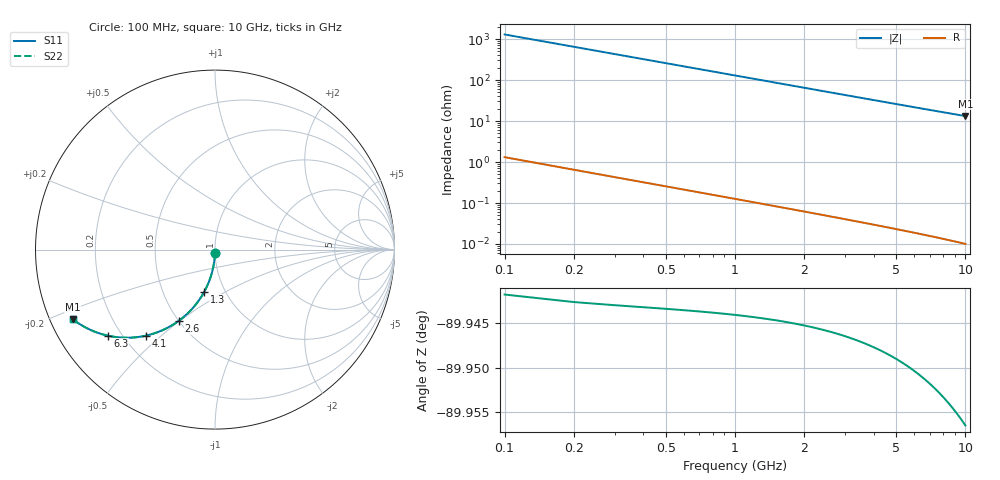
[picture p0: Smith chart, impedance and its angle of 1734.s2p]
# Hz S RI R 50.00
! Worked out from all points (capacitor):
!   100 points, 100 MHz to 10 GHz, reference 50 ohm
!   read as one part in shunt: C = 1.23 pF near 100 MHz
!   lowest |Z| = 13.2 ohm at 10 GHz (marker M1)
!   S11 on the Smith chart (normalised r, x): 100 MHz: 1.00, -0.04; 1.3 GHz: 0.80, -0.40; 2.6 GHz: 0.50, -0.50; 4.1 GHz: 0.29, -0.45; 6.3 GHz: 0.15, -0.34; 10 GHz: 0.07, -0.23
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1e8  -0.000257 -0.0192  0.9995 -0.0195  0.9995 -0.0195  -0.000257 -0.0192
2e8  -0.00139 -0.0383  0.9983 -0.0389  0.9983 -0.0389  -0.00139 -0.0383
3e8  -0.00327 -0.0573  0.9965 -0.0583  0.9965 -0.0583  -0.00327 -0.0573
4e8  -0.00588 -0.0762  0.9938 -0.0775  0.9938 -0.0775  -0.00588 -0.0762
5e8  -0.00921 -0.0949  0.9905 -0.0966  0.9905 -0.0966  -0.00921 -0.0949
6e8  -0.0132 -0.1134  0.9865 -0.1154  0.9865 -0.1154  -0.0132 -0.1134
7e8  -0.018 -0.1317  0.9818 -0.134  0.9818 -0.134  -0.018 -0.1317
8e8  -0.0234 -0.1497  0.9764 -0.1523  0.9764 -0.1523  -0.0234 -0.1497
1e9  -0.036 -0.1846  0.9637 -0.1879  0.9637 -0.1879  -0.036 -0.1846
1.3e9  -0.0595 -0.2341  0.9402 -0.2384  0.9402 -0.2384  -0.0595 -0.2341
1.5e9  -0.0776 -0.2649  0.9221 -0.2698  0.9221 -0.2698  -0.0776 -0.2649
1.8e9  -0.1081 -0.3073  0.8916 -0.3132  0.8916 -0.3132  -0.1081 -0.3073
2.2e9  -0.1533 -0.3563  0.8463 -0.3636  0.8463 -0.3636  -0.1533 -0.3563
2.6e9  -0.2019 -0.3968  0.7978 -0.4053  0.7978 -0.4053  -0.2019 -0.3968
3.4e9  -0.3021 -0.4531  0.6975 -0.4644  0.6975 -0.4644  -0.3021 -0.4531
4.1e9  -0.3865 -0.4797  0.6131 -0.4933  0.6131 -0.4933  -0.3865 -0.4797
5.1e9  -0.4939 -0.491  0.5056 -0.5079  0.5056 -0.5079  -0.4939 -0.491
6.3e9  -0.5988 -0.4791  0.4007 -0.5  0.4007 -0.5  -0.5988 -0.4791
6.7e9  -0.6282 -0.4715  0.3713 -0.4938  0.3713 -0.4938  -0.6282 -0.4715
7.5e9  -0.6796 -0.4535  0.3198 -0.4785  0.3198 -0.4785  -0.6796 -0.4535
8.4e9  -0.7273 -0.4306  0.272 -0.4587  0.272 -0.4587  -0.7273 -0.4306
1e10  -0.7916 -0.3885  0.2075 -0.4221  0.2075 -0.4221  -0.7916 -0.3885
